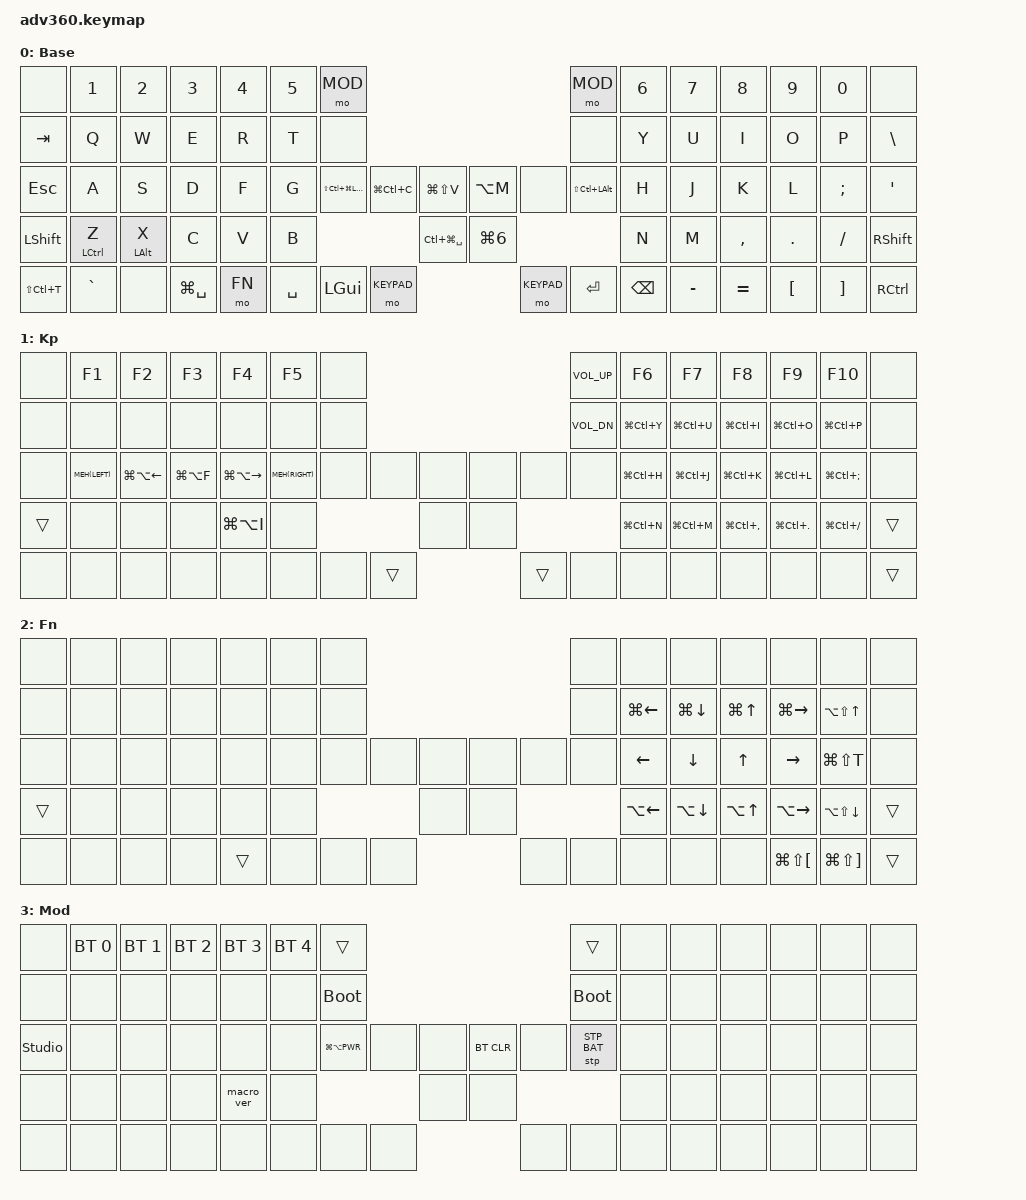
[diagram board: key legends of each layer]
#include <behaviors.dtsi>
#include <dt-bindings/zmk/keys.h>
#include <dt-bindings/zmk/bt.h>
#include <dt-bindings/zmk/rgb.h>
#include <dt-bindings/zmk/stp.h>
#include <dt-bindings/zmk/backlight.h>
#include <dt-bindings/zmk/pointing.h>

// Layers
#define DEFAULT 0
#define KEYPAD 1
#define FN 2
#define MOD 3

// Special keys
#define HYPER(key) LA(LC(LG(LS(key))))
#define MEH(key) LA(LC(LS(key)))

// Override defaults for mod-tap
&mt {
  tapping-term-ms = <180>;
  quick-tap-ms = <125>;
  flavor = "tap-preferred";
};

// Keymap
/ {
  behaviors {
    #include "macros.dtsi"
    #include "version.dtsi"

  };
  keymap {
    compatible = "zmk,keymap";

    default_layer {
      display-name = "Base";
      bindings = <
        &none           &kp N1        &kp N2       &kp N3          &kp N4   &kp N5   &mo MOD                                                                                                    &mo MOD            &kp N6   &kp N7      &kp N8      &kp N9     &kp N0     &none
        &kp TAB         &kp Q         &kp W        &kp E           &kp R    &kp T    &none                                                                                                      &none              &kp Y    &kp U       &kp I       &kp O      &kp P      &kp BSLH
        &kp ESC         &kp A         &kp S        &kp D           &kp F    &kp G    &kp LS(LC(LG(LALT)))               &kp LG(LC(C))   &kp LG(LS(V))       &kp LA(M)    &none                  &kp LS(LC(LALT))   &kp H    &kp J       &kp K       &kp L      &kp SEMI   &kp SQT
        &kp LSHFT       &mt LCTRL Z   &mt LALT X   &kp C           &kp V    &kp B                                                       &kp LC(LG(SPACE))   &kp LG(N6)                                             &kp N    &kp M       &kp COMMA   &kp DOT    &kp FSLH   &kp RSHFT
        &kp LS(LC(T))   &kp GRAVE     &none        &kp LG(SPACE)   &mo FN                                   &kp SPACE   &kp LGUI        &mo KEYPAD          &mo KEYPAD   &kp ENTER   &kp BSPC                               &kp MINUS   &kp EQUAL   &kp LBKT   &kp RBKT   &kp RCTRL
      >;
    };
    keypad {
      display-name = "Kp";
      bindings = <
        &none   &kp F1          &kp F2             &kp F3          &kp F4              &kp F5           &none                                                     &kp C_VOL_UP   &kp F6          &kp F7          &kp F8              &kp F9            &kp F10            &none
        &none   &none           &none              &none           &none               &none            &none                                                     &kp C_VOL_DN   &kp LG(LC(Y))   &kp LG(LC(U))   &kp LG(LC(I))       &kp LG(LC(O))     &kp LG(LC(P))      &none
        &none   &kp MEH(LEFT)   &kp LG(LA(LEFT))   &kp LG(LA(F))   &kp LG(LA(RIGHT))   &kp MEH(RIGHT)   &none           &none   &none    &none    &none           &none          &kp LG(LC(H))   &kp LG(LC(J))   &kp LG(LC(K))       &kp LG(LC(L))     &kp LG(LC(SEMI))   &none
        &trans  &none           &none              &none           &kp LG(LA(I))       &none                                    &none    &none                                   &kp LG(LC(N))   &kp LG(LC(M))   &kp LG(LC(COMMA))   &kp LG(LC(DOT))   &kp LG(LC(FSLH))   &trans
        &none   &none           &none              &none           &none                                        &none   &none   &trans   &trans   &none   &none                                  &none           &none               &none             &none              &trans
      >;
    };
    fn {
      display-name = "Fn";
      bindings = <
        &none   &none   &none   &none   &none    &none   &none                                                   &none   &none          &none          &none        &none              &none              &none
        &none   &none   &none   &none   &none    &none   &none                                                   &none   &kp LG(LEFT)   &kp LG(DOWN)   &kp LG(UP)   &kp LG(RIGHT)      &kp LA(LS(UP))     &none
        &none   &none   &none   &none   &none    &none   &none           &none   &none   &none   &none           &none   &kp LEFT       &kp DOWN       &kp UP       &kp RIGHT          &kp LG(LS(T))      &none
        &trans  &none   &none   &none   &none    &none                           &none   &none                           &kp LA(LEFT)   &kp LA(DOWN)   &kp LA(UP)   &kp LA(RIGHT)      &kp LA(LS(DOWN))   &trans
        &none   &none   &none   &none   &trans                   &none   &none   &none   &none   &none   &none                          &none          &none        &kp LG(LS(LBKT))   &kp LG(LS(RBKT))   &trans
      >;
    };
    mod {
      display-name = "Mod";
      bindings = <
        &none            &bt BT_SEL 0   &bt BT_SEL 1   &bt BT_SEL 2   &bt BT_SEL 3   &bt BT_SEL 4   &trans                                                                   &trans         &none   &none   &none   &none   &none   &none
        &none            &none          &none          &none          &none          &none          &bootloader                                                              &bootloader    &none   &none   &none   &none   &none   &none
        &studio_unlock   &none          &none          &none          &none          &none          &kp LG(LA(C_PWR))           &none   &none   &bt BT_CLR   &none           &stp STP_BAT   &none   &none   &none   &none   &none   &none
        &none            &none          &none          &none          &macro_ver     &none                                              &none   &none                                       &none   &none   &none   &none   &none   &none
        &none            &none          &none          &none          &none                                             &none   &none   &none   &none        &none   &none                          &none   &none   &none   &none   &none
      >;
    };
    extra1 {
      display-name = "Red";
      status = "reserved";
    };
    extra2 {
      display-name = "Purple";
      status = "reserved";
    };
    extra3 {
      display-name = "Cyan";
      status = "reserved";
    };
    extra4 {
      display-name = "Yellow";
      status = "reserved";
    };
  };
};
